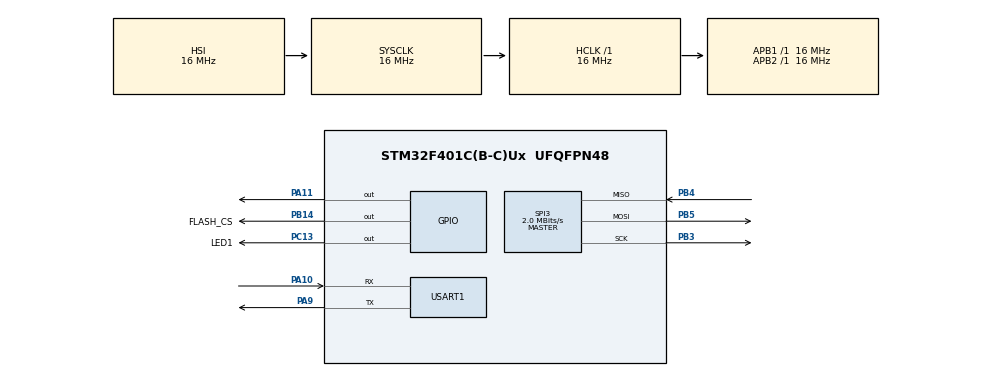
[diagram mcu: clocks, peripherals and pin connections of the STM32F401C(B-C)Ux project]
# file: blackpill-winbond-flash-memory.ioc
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Mcu.Family=STM32F4
Mcu.Name=STM32F401C(B-C)Ux
Mcu.Package=UFQFPN48
NVIC.PriorityGroup=NVIC_PRIORITYGROUP_4
PA10.Mode=Asynchronous
PA10.Signal=USART1_RX
PA11.Signal=GPIO_Output
PA9.Mode=Asynchronous
PA9.Signal=USART1_TX
PB14.GPIO_Label=FLASH_CS
PB14.Signal=GPIO_Output
PB3.Mode=Full_Duplex_Master
PB3.Signal=SPI3_SCK
PB4.Mode=Full_Duplex_Master
PB4.Signal=SPI3_MISO
PB5.Mode=Full_Duplex_Master
PB5.Signal=SPI3_MOSI
PC13-ANTI_TAMP.GPIO_Label=LED1
PC13-ANTI_TAMP.Signal=GPIO_Output
PH0\ -\ OSC_IN.Mode=HSE-External-Oscillator
PH0\ -\ OSC_IN.Signal=RCC_OSC_IN
PH1\ -\ OSC_OUT.Mode=HSE-External-Oscillator
PH1\ -\ OSC_OUT.Signal=RCC_OSC_OUT
ProjectManager.HeapSize=0x200
ProjectManager.StackSize=0x400
ProjectManager.TargetToolchain=STM32CubeIDE
RCC.AHBFreq_Value=16000000
RCC.APB1Freq_Value=16000000
RCC.APB2Freq_Value=16000000
RCC.CortexFreq_Value=16000000
RCC.HSE_VALUE=25000000
RCC.HSI_VALUE=16000000
RCC.LSE_VALUE=32768
RCC.SYSCLKFreq_VALUE=16000000
RCC.VCOOutputFreq_Value=192000000
SPI3.BaudRatePrescaler=SPI_BAUDRATEPRESCALER_8
SPI3.CalculateBaudRate=2.0 MBits/s
SPI3.Direction=SPI_DIRECTION_2LINES
SPI3.Mode=SPI_MODE_MASTER
SPI3.VirtualType=VM_MASTER
USART1.VirtualMode=VM_ASYNC
board=custom

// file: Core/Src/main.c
/* USER CODE BEGIN Header */
/**
  ******************************************************************************
  * @file           : main.c
  * @brief          : Main program body
  ******************************************************************************
  * @attention
  *
  * Copyright (c) 2025 STMicroelectronics.
  * All rights reserved.
  *
  * This software is licensed under terms that can be found in the LICENSE file
  * in the root directory of this software component.
  * If no LICENSE file comes with this software, it is provided AS-IS.
  *
  ******************************************************************************
  */
/* USER CODE END Header */
#include "main.h"

/* USER CODE BEGIN Includes */
#include "string.h"
#include "stdio.h"
#include "W25Qxx.h"

/* USER CODE END Includes */

SPI_HandleTypeDef hspi3;

UART_HandleTypeDef huart1;

/* USER CODE BEGIN PV */

char msg[64];
uint8_t flash_data[1024]; /* to hold data read from the flash memory */

/* USER CODE END PV */

void SystemClock_Config(void);
static void MX_GPIO_Init(void);
static void MX_SPI3_Init(void);
static void MX_USART1_UART_Init(void);
/* USER CODE BEGIN PFP */

void flash_test_sector_erase();
void flash_test_sector_read();

/* USER CODE END PFP */

/* USER CODE BEGIN 0 */
uint32_t flash_id = 0;

void flash_test_sector_read() {
	/* read 200 bytes from page 20 */
	external_flash_read(20, 1, 200, flash_data);
	HAL_UART_Transmit(&huart1, (uint8_t*) "Flash data: \r\n", strlen("Flash data: \r\n"), HAL_MAX_DELAY);
	HAL_UART_Transmit(&huart1, (uint8_t*) flash_data, strlen(flash_data), HAL_MAX_DELAY);

}

void flash_test_sector_erase() {
	/* read 20 bytes starting at byte 85 in sector 1 */
	external_flash_read(1, 85, 20, flash_data);
	HAL_UART_Transmit(&huart1, (uint8_t*) "Flash data: \r\n", strlen("Flash data: \r\n"), HAL_MAX_DELAY);
	HAL_UART_Transmit(&huart1, (uint8_t*) flash_data, strlen(flash_data), HAL_MAX_DELAY);

	/* erase sector 1 */
	external_flash_erase_sector(1);

	/* re-check */
	external_flash_read(1, 85, 20, flash_data);
	HAL_UART_Transmit(&huart1, (uint8_t*) "sector data after erase: \r\n", strlen("sector data after erase: \r\n"), HAL_MAX_DELAY);
	HAL_UART_Transmit(&huart1, (uint8_t*) flash_data, strlen(flash_data), HAL_MAX_DELAY);

}

/* USER CODE END 0 */

int main(void)
{

  /* MCU Configuration--------------------------------------------------------*/

  /* Reset of all peripherals, Initializes the Flash interface and the Systick. */
  HAL_Init();

  /* Configure the system clock */
  SystemClock_Config();

  /* Initialize all configured peripherals */
  MX_GPIO_Init();
  MX_SPI3_Init();
  MX_USART1_UART_Init();
  /* USER CODE BEGIN 2 */

  /* get the flash memory ID */
  // external_flash_reset();
  // flash_id = external_flash_read_ID();

  //sprintf(msg, "Flash ID: %02X\r\n", flash_id);
  // HAL_UART_Transmit(&huart1, (uint8_t*)msg, strlen(msg), 500);

  flash_test_sector_read();
  //flash_test_sector_erase();

  /* USER CODE END 2 */

  /* Infinite loop */
  while (1)
  {

    /* USER CODE BEGIN 3 */

	  HAL_GPIO_TogglePin(LED1_GPIO_Port, LED1_Pin);
	  HAL_Delay(200);

  }
  /* USER CODE END 3 */
}

void SystemClock_Config(void)
{
  RCC_OscInitTypeDef RCC_OscInitStruct = {0};
  RCC_ClkInitTypeDef RCC_ClkInitStruct = {0};

  /** Configure the main internal regulator output voltage
  */
  __HAL_RCC_PWR_CLK_ENABLE();
  __HAL_PWR_VOLTAGESCALING_CONFIG(PWR_REGULATOR_VOLTAGE_SCALE2);

  /** Initializes the RCC Oscillators according to the specified parameters
  * in the RCC_OscInitTypeDef structure.
  */
  RCC_OscInitStruct.OscillatorType = RCC_OSCILLATORTYPE_HSI;
  RCC_OscInitStruct.HSIState = RCC_HSI_ON;
  RCC_OscInitStruct.HSICalibrationValue = RCC_HSICALIBRATION_DEFAULT;
  RCC_OscInitStruct.PLL.PLLState = RCC_PLL_NONE;
  if (HAL_RCC_OscConfig(&RCC_OscInitStruct) != HAL_OK)
  {
    Error_Handler();
  }

  /** Initializes the CPU, AHB and APB buses clocks
  */
  RCC_ClkInitStruct.ClockType = RCC_CLOCKTYPE_HCLK|RCC_CLOCKTYPE_SYSCLK
                              |RCC_CLOCKTYPE_PCLK1|RCC_CLOCKTYPE_PCLK2;
  RCC_ClkInitStruct.SYSCLKSource = RCC_SYSCLKSOURCE_HSI;
  RCC_ClkInitStruct.AHBCLKDivider = RCC_SYSCLK_DIV1;
  RCC_ClkInitStruct.APB1CLKDivider = RCC_HCLK_DIV1;
  RCC_ClkInitStruct.APB2CLKDivider = RCC_HCLK_DIV1;

  if (HAL_RCC_ClockConfig(&RCC_ClkInitStruct, FLASH_LATENCY_0) != HAL_OK)
  {
    Error_Handler();
  }
}

static void MX_SPI3_Init(void)
{

  /* SPI3 parameter configuration*/
  hspi3.Instance = SPI3;
  hspi3.Init.Mode = SPI_MODE_MASTER;
  hspi3.Init.Direction = SPI_DIRECTION_2LINES;
  hspi3.Init.DataSize = SPI_DATASIZE_8BIT;
  hspi3.Init.CLKPolarity = SPI_POLARITY_LOW;
  hspi3.Init.CLKPhase = SPI_PHASE_1EDGE;
  hspi3.Init.NSS = SPI_NSS_SOFT;
  hspi3.Init.BaudRatePrescaler = SPI_BAUDRATEPRESCALER_8;
  hspi3.Init.FirstBit = SPI_FIRSTBIT_MSB;
  hspi3.Init.TIMode = SPI_TIMODE_DISABLE;
  hspi3.Init.CRCCalculation = SPI_CRCCALCULATION_DISABLE;
  hspi3.Init.CRCPolynomial = 10;
  if (HAL_SPI_Init(&hspi3) != HAL_OK)
  {
    Error_Handler();
  }

}

static void MX_USART1_UART_Init(void)
{

  huart1.Instance = USART1;
  huart1.Init.BaudRate = 115200;
  huart1.Init.WordLength = UART_WORDLENGTH_8B;
  huart1.Init.StopBits = UART_STOPBITS_1;
  huart1.Init.Parity = UART_PARITY_NONE;
  huart1.Init.Mode = UART_MODE_TX_RX;
  huart1.Init.HwFlowCtl = UART_HWCONTROL_NONE;
  huart1.Init.OverSampling = UART_OVERSAMPLING_16;
  if (HAL_UART_Init(&huart1) != HAL_OK)
  {
    Error_Handler();
  }

}

static void MX_GPIO_Init(void)
{
  GPIO_InitTypeDef GPIO_InitStruct = {0};

  /* GPIO Ports Clock Enable */
  __HAL_RCC_GPIOC_CLK_ENABLE();
  __HAL_RCC_GPIOH_CLK_ENABLE();
  __HAL_RCC_GPIOB_CLK_ENABLE();
  __HAL_RCC_GPIOA_CLK_ENABLE();

  /*Configure GPIO pin Output Level */
  HAL_GPIO_WritePin(LED1_GPIO_Port, LED1_Pin, GPIO_PIN_RESET);

  /*Configure GPIO pin Output Level */
  HAL_GPIO_WritePin(FLASH_CS_GPIO_Port, FLASH_CS_Pin, GPIO_PIN_RESET);

  /*Configure GPIO pin Output Level */
  HAL_GPIO_WritePin(GPIOA, GPIO_PIN_11, GPIO_PIN_RESET);

  /*Configure GPIO pin : LED1_Pin */
  GPIO_InitStruct.Pin = LED1_Pin;
  GPIO_InitStruct.Mode = GPIO_MODE_OUTPUT_PP;
  GPIO_InitStruct.Pull = GPIO_NOPULL;
  GPIO_InitStruct.Speed = GPIO_SPEED_FREQ_LOW;
  HAL_GPIO_Init(LED1_GPIO_Port, &GPIO_InitStruct);

  /*Configure GPIO pin : FLASH_CS_Pin */
  GPIO_InitStruct.Pin = FLASH_CS_Pin;
  GPIO_InitStruct.Mode = GPIO_MODE_OUTPUT_PP;
  GPIO_InitStruct.Pull = GPIO_NOPULL;
  GPIO_InitStruct.Speed = GPIO_SPEED_FREQ_LOW;
  HAL_GPIO_Init(FLASH_CS_GPIO_Port, &GPIO_InitStruct);

  /*Configure GPIO pin : PA11 */
  GPIO_InitStruct.Pin = GPIO_PIN_11;
  GPIO_InitStruct.Mode = GPIO_MODE_OUTPUT_PP;
  GPIO_InitStruct.Pull = GPIO_NOPULL;
  GPIO_InitStruct.Speed = GPIO_SPEED_FREQ_LOW;
  HAL_GPIO_Init(GPIOA, &GPIO_InitStruct);

}

void Error_Handler(void)
{
  __disable_irq();
  while (1)
  {
  }
}
